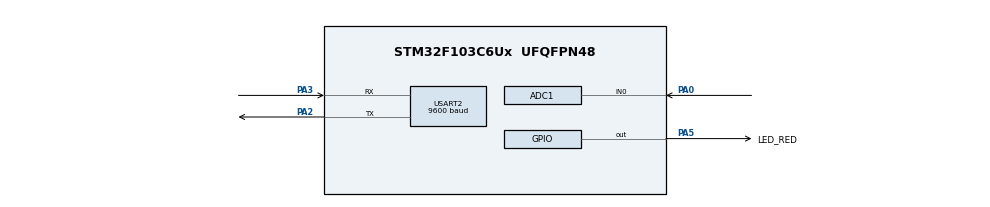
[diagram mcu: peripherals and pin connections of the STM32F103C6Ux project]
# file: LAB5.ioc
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ADC1.Channel-0\#ChannelRegularConversion=ADC_CHANNEL_0
ADC1.ContinuousConvMode=ENABLE
ADC1.NbrOfConversionFlag=1
ADC1.Rank-0\#ChannelRegularConversion=1
ADC1.SamplingTime-0\#ChannelRegularConversion=ADC_SAMPLETIME_1CYCLE_5
ADC1.master=1
Mcu.Family=STM32F1
Mcu.Name=STM32F103C6Ux
Mcu.Package=UFQFPN48
NVIC.PriorityGroup=NVIC_PRIORITYGROUP_4
NVIC.TIM2_IRQn=true\:0\:0\:false\:false\:true\:true\:true
NVIC.USART2_IRQn=true\:0\:0\:false\:false\:true\:true\:true
PA0-WKUP.Signal=ADCx_IN0
PA2.Mode=Asynchronous
PA2.Signal=USART2_TX
PA3.Mode=Asynchronous
PA3.Signal=USART2_RX
PA5.GPIO_Label=LED_RED
PA5.Signal=GPIO_Output
ProjectManager.HeapSize=0x200
ProjectManager.StackSize=0x400
ProjectManager.TargetToolchain=STM32CubeIDE
RCC.APB1Freq_Value=8000000
RCC.APB2Freq_Value=8000000
SH.ADCx_IN0.0=ADC1_IN0,IN0
TIM2.Period=7999
TIM2.Prescaler=1
USART2.BaudRate=9600
USART2.VirtualMode=VM_ASYNC
VP_SYS_VS_ND.Mode=No_Debug
VP_TIM2_VS_ClockSourceINT.Mode=Internal
board=custom

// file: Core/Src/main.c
/* USER CODE BEGIN Header */
/**
  ******************************************************************************
  * @file           : main.c
  * @brief          : Main program body
  ******************************************************************************
  * @attention
  *
  * <h2><center>&copy; Copyright (c) 2024 STMicroelectronics.
  * All rights reserved.</center></h2>
  *
  * This software component is licensed by ST under BSD 3-Clause license,
  * the "License"; You may not use this file except in compliance with the
  * License. You may obtain a copy of the License at:
  *                        opensource.org/licenses/BSD-3-Clause
  *
  ******************************************************************************
  */
/* USER CODE END Header */
#include "main.h"

/* USER CODE BEGIN Includes */
#include "string.h"
#include "stdio.h"
#include "timer.h"
/* USER CODE END Includes */

ADC_HandleTypeDef hadc1;

TIM_HandleTypeDef htim2;

UART_HandleTypeDef huart2;

void SystemClock_Config(void);
static void MX_GPIO_Init(void);
static void MX_ADC1_Init(void);
static void MX_USART2_UART_Init(void);
static void MX_TIM2_Init(void);

/* USER CODE BEGIN 0 */
#define MAX_BUFFER_SIZE 30
uint8_t tmp = 0;
uint8_t buffer[MAX_BUFFER_SIZE];
uint8_t index_buffer = 0;
uint8_t buffer_flag = 0;

uint32_t ADC_value = 0;

uint8_t Read_Status = 0 ;
uint8_t Trans_Status = 0;

uint8_t cmd_flag = 0;
uint8_t cmd_data_idx;
uint8_t cmd_data[10];

/* USER CODE END 0 */

int main(void)
{

  /* MCU Configuration--------------------------------------------------------*/

  /* Reset of all peripherals, Initializes the Flash interface and the Systick. */
  HAL_Init();

  /* Configure the system clock */
  SystemClock_Config();

  /* Initialize all configured peripherals */
  MX_GPIO_Init();
  MX_ADC1_Init();
  MX_USART2_UART_Init();
  MX_TIM2_Init();
  /* USER CODE BEGIN 2 */
  HAL_ADC_Start(&hadc1);
  HAL_TIM_Base_Start_IT (& htim2 );
  HAL_UART_Receive_IT (& huart2 , &tmp , 1);
  //HAL_TIM_Base_Start_IT (& htim2 );
  setTimer(1, 1000);
  /* USER CODE END 2 */

  /* Infinite loop */
  while (1)
  {

    /* USER CODE BEGIN 3 */
  	  if(buffer_flag == 1){
  		  command_parser_fsm();
  		  buffer_flag = 0;
  	  }
  	   uart_communiation_fsm();

  }
  /* USER CODE END 3 */
}

void SystemClock_Config(void)
{
  RCC_OscInitTypeDef RCC_OscInitStruct = {0};
  RCC_ClkInitTypeDef RCC_ClkInitStruct = {0};
  RCC_PeriphCLKInitTypeDef PeriphClkInit = {0};

  /** Initializes the RCC Oscillators according to the specified parameters
  * in the RCC_OscInitTypeDef structure.
  */
  RCC_OscInitStruct.OscillatorType = RCC_OSCILLATORTYPE_HSI;
  RCC_OscInitStruct.HSIState = RCC_HSI_ON;
  RCC_OscInitStruct.HSICalibrationValue = RCC_HSICALIBRATION_DEFAULT;
  RCC_OscInitStruct.PLL.PLLState = RCC_PLL_NONE;
  if (HAL_RCC_OscConfig(&RCC_OscInitStruct) != HAL_OK)
  {
    Error_Handler();
  }

  /** Initializes the CPU, AHB and APB buses clocks
  */
  RCC_ClkInitStruct.ClockType = RCC_CLOCKTYPE_HCLK|RCC_CLOCKTYPE_SYSCLK
                              |RCC_CLOCKTYPE_PCLK1|RCC_CLOCKTYPE_PCLK2;
  RCC_ClkInitStruct.SYSCLKSource = RCC_SYSCLKSOURCE_HSI;
  RCC_ClkInitStruct.AHBCLKDivider = RCC_SYSCLK_DIV1;
  RCC_ClkInitStruct.APB1CLKDivider = RCC_HCLK_DIV1;
  RCC_ClkInitStruct.APB2CLKDivider = RCC_HCLK_DIV1;

  if (HAL_RCC_ClockConfig(&RCC_ClkInitStruct, FLASH_LATENCY_0) != HAL_OK)
  {
    Error_Handler();
  }
  PeriphClkInit.PeriphClockSelection = RCC_PERIPHCLK_ADC;
  PeriphClkInit.AdcClockSelection = RCC_ADCPCLK2_DIV2;
  if (HAL_RCCEx_PeriphCLKConfig(&PeriphClkInit) != HAL_OK)
  {
    Error_Handler();
  }
}

static void MX_ADC1_Init(void)
{

  ADC_ChannelConfTypeDef sConfig = {0};

  /** Common config
  */
  hadc1.Instance = ADC1;
  hadc1.Init.ScanConvMode = ADC_SCAN_DISABLE;
  hadc1.Init.ContinuousConvMode = DISABLE;
  hadc1.Init.DiscontinuousConvMode = DISABLE;
  hadc1.Init.ExternalTrigConv = ADC_SOFTWARE_START;
  hadc1.Init.DataAlign = ADC_DATAALIGN_RIGHT;
  hadc1.Init.NbrOfConversion = 1;
  if (HAL_ADC_Init(&hadc1) != HAL_OK)
  {
    Error_Handler();
  }

  /** Configure Regular Channel
  */
  sConfig.Channel = ADC_CHANNEL_0;
  sConfig.Rank = ADC_REGULAR_RANK_1;
  sConfig.SamplingTime = ADC_SAMPLETIME_1CYCLE_5;
  if (HAL_ADC_ConfigChannel(&hadc1, &sConfig) != HAL_OK)
  {
    Error_Handler();
  }

}

static void MX_TIM2_Init(void)
{

  TIM_ClockConfigTypeDef sClockSourceConfig = {0};
  TIM_MasterConfigTypeDef sMasterConfig = {0};

  htim2.Instance = TIM2;
  htim2.Init.Prescaler = 7999;
  htim2.Init.CounterMode = TIM_COUNTERMODE_UP;
  htim2.Init.Period = 9;
  htim2.Init.ClockDivision = TIM_CLOCKDIVISION_DIV1;
  htim2.Init.AutoReloadPreload = TIM_AUTORELOAD_PRELOAD_DISABLE;
  if (HAL_TIM_Base_Init(&htim2) != HAL_OK)
  {
    Error_Handler();
  }
  sClockSourceConfig.ClockSource = TIM_CLOCKSOURCE_INTERNAL;
  if (HAL_TIM_ConfigClockSource(&htim2, &sClockSourceConfig) != HAL_OK)
  {
    Error_Handler();
  }
  sMasterConfig.MasterOutputTrigger = TIM_TRGO_RESET;
  sMasterConfig.MasterSlaveMode = TIM_MASTERSLAVEMODE_DISABLE;
  if (HAL_TIMEx_MasterConfigSynchronization(&htim2, &sMasterConfig) != HAL_OK)
  {
    Error_Handler();
  }

}

static void MX_USART2_UART_Init(void)
{

  huart2.Instance = USART2;
  huart2.Init.BaudRate = 9600;
  huart2.Init.WordLength = UART_WORDLENGTH_8B;
  huart2.Init.StopBits = UART_STOPBITS_1;
  huart2.Init.Parity = UART_PARITY_NONE;
  huart2.Init.Mode = UART_MODE_TX_RX;
  huart2.Init.HwFlowCtl = UART_HWCONTROL_NONE;
  huart2.Init.OverSampling = UART_OVERSAMPLING_16;
  if (HAL_UART_Init(&huart2) != HAL_OK)
  {
    Error_Handler();
  }

}

static void MX_GPIO_Init(void)
{

  /* GPIO Ports Clock Enable */
  __HAL_RCC_GPIOA_CLK_ENABLE();

}

/* USER CODE BEGIN 4 */
void HAL_TIM_PeriodElapsedCallback(TIM_HandleTypeDef *htim){
	timer_run();
}

void HAL_UART_RxCpltCallback ( UART_HandleTypeDef * huart ){
	 if(huart->Instance == USART2){
		 buffer[index_buffer++] = tmp;
	 if(index_buffer == 30) {index_buffer = 0;}
	 	 buffer_flag = 1;
	 	HAL_UART_Receive_IT(&huart2, &tmp, 1);
	 	HAL_UART_Transmit(&huart2, &tmp, 1, 50);
	 }
}

void command_parser_fsm(){
	switch (Read_Status){
	case 0:
		if(tmp == 33){

			Read_Status = 1;
			cmd_flag= 0;
			for(uint8_t i = 0;i < 10;i++){
				cmd_data[i] = 0;
			}
			cmd_data_idx = 0;
		}
		break;
	case 1:
		if(tmp == 35){
			Read_Status = 0;
			cmd_flag= 1;
		}
		if(tmp != 35 && tmp != 33){
			cmd_data[cmd_data_idx++] = tmp;
		}
		break;
	default :
		break;
	}
}

void uart_communiation_fsm(){
	switch (Trans_Status){
		case 0:
			if(cmd_flag == 1){
				cmd_flag = 0;
				if(strcmp(cmd_data, "RTS") == 0){
					HAL_ADC_Start(&hadc1);
					ADC_value = HAL_ADC_GetValue(&hadc1);
					char str[20];
					sprintf(str, "!ADC=%ld#\n\r", ADC_value);
					HAL_UART_Transmit(&huart2, (uint8_t*)str, strlen(str), 100);
					Trans_Status = 1;
					setTimer(0, 3000);
				}
				else{
					HAL_UART_Transmit(&huart2, "Instruction Error\n\r",19, 100);
				}
			}

			break;
		case 1:
			if(cmd_flag == 1 && strcmp(cmd_data, "OK") == 0){
				HAL_UART_Transmit(&huart2, " QUIT\n\r",6, 100);
				cmd_flag = 0;
				Trans_Status = 0;
			}
			if(timer_flag[0] == 1){
				setTimer(0, 3000);
				char str[20];
				sprintf(str, "!ADC=%ld#\n\r", ADC_value);
				HAL_UART_Transmit(&huart2, (uint8_t*)str, strlen(str), 100);
			}
			break;
		default :
			break;
	};
}

/* USER CODE END 4 */

void Error_Handler(void)
{
  __disable_irq();
  while (1)
  {
  }
}
